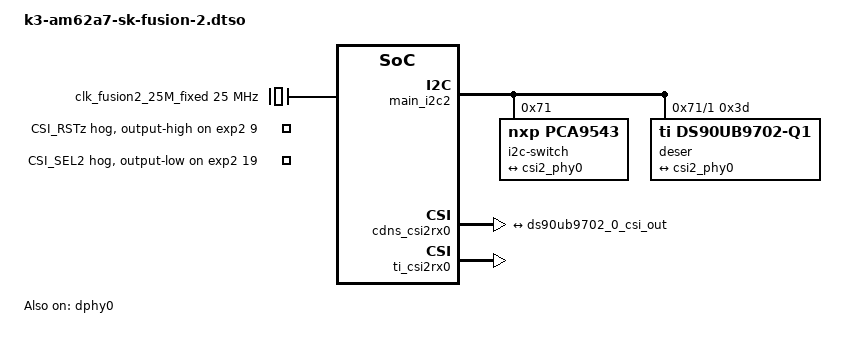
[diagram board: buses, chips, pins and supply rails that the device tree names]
// SPDX-License-Identifier: GPL-2.0 OR MIT
/*
 * DT Overlay for Fusion 2 (FPD-Link IV) board on SK-AM62A
 * https://www.ti.com/tool/J7EXPA01EVM
 *
 * Copyright (C) 2024 D3 Embedded - https://www.d3embedded.com
 */

 /dts-v1/;
 /plugin/;

#include <dt-bindings/gpio/gpio.h>

&{/} {
	clk_fusion2_25M_fixed: fixed-clock-25M {
		compatible = "fixed-clock";
		#clock-cells = <0>;
		clock-frequency = <25000000>;
	};
};

&exp2 {
	p9-hog {
		/* P9 - CSI_RSTz */
		gpio-hog;
		gpios = <9 GPIO_ACTIVE_HIGH>;
		output-high;
		line-name = "CSI_RSTz";
	};

	p19-hog {
		/* P19 -CSI_SEL2 */
		gpio-hog;
		gpios = <19 GPIO_ACTIVE_HIGH>;
		output-low;
		line-name = "CSI_SEL2";
	};
};

&main_i2c2 {
	#address-cells = <1>;
	#size-cells = <0>;
	status = "okay";

	i2c-switch@71 {
		compatible = "nxp,pca9543";
		reg = <0x71>;
		#address-cells = <1>;
		#size-cells = <0>;

		i2c@1 {
			reg = <1>;
			#address-cells = <1>;
			#size-cells = <0>;

			deser@3d {
				compatible = "ti,ds90ub9702-q1";
				reg = <0x3d>;

				clock-names = "refclk";
				clocks = <&clk_fusion2_25M_fixed>;

				i2c-alias-pool = <0x4a 0x4b 0x4c 0x4d 0x4e 0x4f>;

				deserializer_0_ports: ports {
					#address-cells = <1>;
					#size-cells = <0>;

					/* CSI-2 TX */
					port@4 {
						reg = <4>;
						ds90ub9702_0_csi_out: endpoint {
							data-lanes = <1 2 3 4>;
							clock-lanes = <0>;
							link-frequencies = /bits/ 64 <800000000>;
							remote-endpoint = <&csi2_phy0>;
						};
					};
				};

				deserializer_0_links: links {
					#address-cells = <1>;
					#size-cells = <0>;
				};
			};
		};
	};
};

&cdns_csi2rx0 {
	ports {
		#address-cells = <1>;
		#size-cells = <0>;

		csi0_port0: port@0 {
			reg = <0>;
			status = "okay";

			csi2_phy0: endpoint {
				remote-endpoint = <&ds90ub9702_0_csi_out>;
				data-lanes = <1 2 3 4>;
				clock-lanes = <0>;
				link-frequencies = /bits/ 64 <800000000>;
			};
		};
	};
};

&ti_csi2rx0 {
	status = "okay";
};

&dphy0 {
	status = "okay";
};
